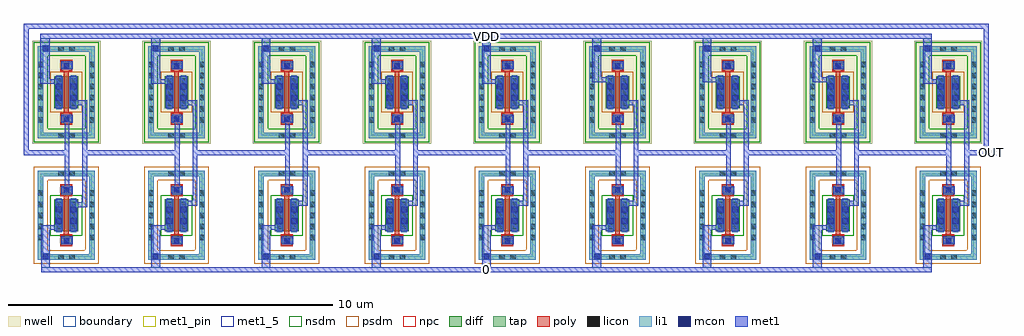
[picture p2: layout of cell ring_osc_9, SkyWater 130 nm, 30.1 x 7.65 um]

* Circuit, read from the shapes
.subckt ring_osc_9 0 OUT VDD
XM1 sky130_fd_pr__nfet_01v8_43PN6M__0_1/G OUT 0 0 sky130_fd_pr__nfet_01v8 w=1 l=0.15
XM2 sky130_fd_pr__nfet_01v8_43PN6M__0_2/G sky130_fd_pr__nfet_01v8_43PN6M__0_1/G 0 0 sky130_fd_pr__nfet_01v8 w=1 l=0.15
XM3 sky130_fd_pr__nfet_01v8_43PN6M__0_3/G sky130_fd_pr__nfet_01v8_43PN6M__0_2/G 0 0 sky130_fd_pr__nfet_01v8 w=1 l=0.15
XM4 sky130_fd_pr__nfet_01v8_43PN6M__0_4/G sky130_fd_pr__nfet_01v8_43PN6M__0_3/G 0 0 sky130_fd_pr__nfet_01v8 w=1 l=0.15
XM5 sky130_fd_pr__nfet_01v8_43PN6M__0_5/G sky130_fd_pr__nfet_01v8_43PN6M__0_4/G 0 0 sky130_fd_pr__nfet_01v8 w=1 l=0.15
XM6 sky130_fd_pr__nfet_01v8_43PN6M__0_6/G sky130_fd_pr__nfet_01v8_43PN6M__0_5/G 0 0 sky130_fd_pr__nfet_01v8 w=1 l=0.15
XM7 sky130_fd_pr__nfet_01v8_43PN6M__0_7/G sky130_fd_pr__nfet_01v8_43PN6M__0_6/G 0 0 sky130_fd_pr__nfet_01v8 w=1 l=0.15
XM8 sky130_fd_pr__nfet_01v8_43PN6M__0_8/G sky130_fd_pr__nfet_01v8_43PN6M__0_7/G 0 0 sky130_fd_pr__nfet_01v8 w=1 l=0.15
XM9 OUT sky130_fd_pr__nfet_01v8_43PN6M__0_8/G 0 0 sky130_fd_pr__nfet_01v8 w=1 l=0.15
XM10 sky130_fd_pr__nfet_01v8_43PN6M__0_1/G OUT VDD VDD sky130_fd_pr__pfet_01v8 w=1 l=0.15
XM11 sky130_fd_pr__nfet_01v8_43PN6M__0_2/G sky130_fd_pr__nfet_01v8_43PN6M__0_1/G VDD VDD sky130_fd_pr__pfet_01v8 w=1 l=0.15
XM12 sky130_fd_pr__nfet_01v8_43PN6M__0_3/G sky130_fd_pr__nfet_01v8_43PN6M__0_2/G VDD VDD sky130_fd_pr__pfet_01v8 w=1 l=0.15
XM13 sky130_fd_pr__nfet_01v8_43PN6M__0_4/G sky130_fd_pr__nfet_01v8_43PN6M__0_3/G VDD VDD sky130_fd_pr__pfet_01v8 w=1 l=0.15
XM14 sky130_fd_pr__nfet_01v8_43PN6M__0_5/G sky130_fd_pr__nfet_01v8_43PN6M__0_4/G VDD VDD sky130_fd_pr__pfet_01v8 w=1 l=0.15
XM15 sky130_fd_pr__nfet_01v8_43PN6M__0_6/G sky130_fd_pr__nfet_01v8_43PN6M__0_5/G VDD VDD sky130_fd_pr__pfet_01v8 w=1 l=0.15
XM16 sky130_fd_pr__nfet_01v8_43PN6M__0_7/G sky130_fd_pr__nfet_01v8_43PN6M__0_6/G VDD VDD sky130_fd_pr__pfet_01v8 w=1 l=0.15
XM17 sky130_fd_pr__nfet_01v8_43PN6M__0_8/G sky130_fd_pr__nfet_01v8_43PN6M__0_7/G VDD VDD sky130_fd_pr__pfet_01v8 w=1 l=0.15
XM18 OUT sky130_fd_pr__nfet_01v8_43PN6M__0_8/G VDD VDD sky130_fd_pr__pfet_01v8 w=1 l=0.15
.ends

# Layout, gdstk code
import gdstk
lib = gdstk.Library(unit=1e-6, precision=1e-09)
def R(c, l, rs):  # rectangles x0, y0, x1, y1
    for r in rs: c.add(gdstk.rectangle(r[:2], r[2:], *l))
def A(c, l, x, y, w, h, nx, ny, dx, dy):  # array of equal rectangles
    R(c, l, [(x+i*dx, y+j*dy, x+i*dx+w, y+j*dy+h) for i in range(nx) for j in range(ny)])
nwell = (64, 20)
diff = (65, 20)
tap = (65, 44)
poly = (66, 20)
licon = (66, 44)
li1 = (67, 20)
mcon = (67, 44)
met1_5 = (68, 5)
met1_pin = (68, 16)
met1 = (68, 20)
nsdm = (93, 44)
psdm = (94, 20)
npc = (95, 20)
boundary = (235, 4)

sky130_fd_pr__nfet_01v8_ = lib.new_cell('sky130_fd_pr__nfet_01v8_43PN6M__0')
R(sky130_fd_pr__nfet_01v8_, diff, [(-0.365,-0.5,0.365,0.5)])
R(sky130_fd_pr__nfet_01v8_, tap, [(-0.875,-1.37,0.875,-1.2), (-0.875,-1.2,-0.705,1.2), (0.705,-1.2,0.875,1.2), (-0.875,1.2,0.875,1.37)])
R(sky130_fd_pr__nfet_01v8_, poly, [(-0.165,-0.94,0.165,-0.61), (-0.075,-0.61,0.075,0.61), (-0.165,0.61,0.165,0.94)])
A(sky130_fd_pr__nfet_01v8_, licon, -0.875, -0.765, 0.17, 0.17, 1, 5, 0, 0.34)
A(sky130_fd_pr__nfet_01v8_, licon, 0.705, -0.765, 0.17, 0.17, 1, 5, 0, 0.34)
A(sky130_fd_pr__nfet_01v8_, licon, -0.305, -0.425, 0.17, 0.17, 1, 3, 0, 0.34)
A(sky130_fd_pr__nfet_01v8_, licon, 0.135, -0.425, 0.17, 0.17, 1, 3, 0, 0.34)
R(sky130_fd_pr__nfet_01v8_, licon, [(-0.255,-1.37,-0.085,-1.2), (0.085,-1.37,0.255,-1.2), (-0.085,-0.86,0.085,-0.69), (-0.085,0.69,0.085,0.86), (-0.255,1.2,-0.085,1.37), (0.085,1.2,0.255,1.37)])
R(sky130_fd_pr__nfet_01v8_, li1, [(-0.875,-1.37,0.875,-1.2), (-0.875,-1.2,-0.705,1.2), (0.705,-1.2,0.875,1.2), (-0.165,-0.86,0.165,-0.69), (-0.305,-0.52,-0.135,0.52), (0.135,-0.52,0.305,0.52), (-0.165,0.69,0.165,0.86), (-0.875,1.2,0.875,1.37)])
R(sky130_fd_pr__nfet_01v8_, mcon, [(-0.085,-0.86,0.085,-0.69), (-0.305,-0.265,-0.135,-0.095), (0.135,-0.265,0.305,-0.095), (-0.305,0.095,-0.135,0.265), (0.135,0.095,0.305,0.265), (-0.085,0.69,0.085,0.86)])
R(sky130_fd_pr__nfet_01v8_, met1, [(-0.145,-0.89,0.145,-0.66), (-0.335,-0.5,-0.105,0.5), (0.105,-0.5,0.335,0.5), (-0.145,0.66,0.145,0.89)])
R(sky130_fd_pr__nfet_01v8_, nsdm, [(-0.49,-0.625,0.49,0.625)])
R(sky130_fd_pr__nfet_01v8_, psdm, [(-1,-1.495,1,-1.075), (-1,-1.075,-0.58,1.075), (0.58,-1.075,1,1.075), (-1,1.075,1,1.495)])
R(sky130_fd_pr__nfet_01v8_, npc, [(-0.185,-0.96,0.185,-0.59), (-0.185,0.59,0.185,0.96)])
R(sky130_fd_pr__nfet_01v8_, boundary, [(-0.79,-1.285,0.79,1.285)])
sky130_fd_pr__nfet_01v8_.add(gdstk.Label('B', (0,-1.285), layer=67, texttype=5))
sky130_fd_pr__nfet_01v8_.add(gdstk.Label('D', (-0.22,0), layer=67, texttype=5))
sky130_fd_pr__nfet_01v8_.add(gdstk.Label('S', (0.22,0), layer=67, texttype=5))
sky130_fd_pr__nfet_01v8_.add(gdstk.Label('G', (0,0.775), layer=67, texttype=5))

sky130_fd_pr__pfet_01v8_ = lib.new_cell('sky130_fd_pr__pfet_01v8_65BPJF__0')
R(sky130_fd_pr__pfet_01v8_, nwell, [(-1.055,-1.595,1.055,1.595)])
R(sky130_fd_pr__pfet_01v8_, diff, [(-0.365,-0.5,0.365,0.5)])
R(sky130_fd_pr__pfet_01v8_, tap, [(-0.875,-1.415,0.875,-1.245), (-0.875,-1.245,-0.705,1.245), (0.705,-1.245,0.875,1.245), (-0.875,1.245,0.875,1.415)])
R(sky130_fd_pr__pfet_01v8_, poly, [(-0.165,-0.985,0.165,-0.655), (-0.075,-0.655,0.075,0.655), (-0.165,0.655,0.165,0.985)])
A(sky130_fd_pr__pfet_01v8_, licon, -0.875, -0.935, 0.17, 0.17, 1, 6, 0, 0.34)
A(sky130_fd_pr__pfet_01v8_, licon, 0.705, -0.935, 0.17, 0.17, 1, 6, 0, 0.34)
A(sky130_fd_pr__pfet_01v8_, licon, -0.305, -0.425, 0.17, 0.17, 1, 3, 0, 0.34)
A(sky130_fd_pr__pfet_01v8_, licon, 0.135, -0.425, 0.17, 0.17, 1, 3, 0, 0.34)
R(sky130_fd_pr__pfet_01v8_, licon, [(-0.255,-1.415,-0.085,-1.245), (0.085,-1.415,0.255,-1.245), (-0.085,-0.905,0.085,-0.735), (-0.085,0.735,0.085,0.905), (-0.255,1.245,-0.085,1.415), (0.085,1.245,0.255,1.415)])
R(sky130_fd_pr__pfet_01v8_, li1, [(-0.875,-1.415,0.875,-1.245), (-0.875,-1.245,-0.705,1.245), (0.705,-1.245,0.875,1.245), (-0.165,-0.905,0.165,-0.735), (-0.305,-0.52,-0.135,0.52), (0.135,-0.52,0.305,0.52), (-0.165,0.735,0.165,0.905), (-0.875,1.245,0.875,1.415)])
R(sky130_fd_pr__pfet_01v8_, mcon, [(-0.085,-0.905,0.085,-0.735), (-0.305,-0.265,-0.135,-0.095), (0.135,-0.265,0.305,-0.095), (-0.305,0.095,-0.135,0.265), (0.135,0.095,0.305,0.265), (-0.085,0.735,0.085,0.905)])
R(sky130_fd_pr__pfet_01v8_, met1, [(-0.145,-0.935,0.145,-0.705), (-0.335,-0.5,-0.105,0.5), (0.105,-0.5,0.335,0.5), (-0.145,0.705,0.145,0.935)])
R(sky130_fd_pr__pfet_01v8_, nsdm, [(-1,-1.54,1,-1.12), (-1,-1.12,-0.58,1.12), (0.58,-1.12,1,1.12), (-1,1.12,1,1.54)])
R(sky130_fd_pr__pfet_01v8_, psdm, [(-0.49,-0.625,0.49,0.625)])
R(sky130_fd_pr__pfet_01v8_, npc, [(-0.185,-1.005,0.185,-0.635), (-0.185,0.635,0.185,1.005)])
R(sky130_fd_pr__pfet_01v8_, boundary, [(-0.79,-1.33,0.79,1.33)])
sky130_fd_pr__pfet_01v8_.add(gdstk.Label('B', (0,-1.33), layer=67, texttype=5))
sky130_fd_pr__pfet_01v8_.add(gdstk.Label('D', (-0.22,0), layer=67, texttype=5))
sky130_fd_pr__pfet_01v8_.add(gdstk.Label('S', (0.22,0), layer=67, texttype=5))
sky130_fd_pr__pfet_01v8_.add(gdstk.Label('G', (0,0.82), layer=67, texttype=5))

ring_osc_9 = lib.new_cell('ring_osc_9')
A(ring_osc_9, li1, -25.93, -8.12, 0.2, 0.2, 7, 2, 3.4, 6.41)
R(ring_osc_9, li1, [(-32.73,-8.12,-32.53,-7.92), (-29.34,-8.12,-29.14,-7.92), (-32.73,-1.71,-32.53,-1.51), (-29.34,-1.71,-29.14,-1.51)])
A(ring_osc_9, mcon, -25.915, -8.105, 0.17, 0.17, 7, 2, 3.4, 6.41)
R(ring_osc_9, mcon, [(-32.715,-8.105,-32.545,-7.935), (-29.325,-8.105,-29.155,-7.935), (-32.715,-1.695,-32.545,-1.525), (-29.325,-1.695,-29.155,-1.525)])
R(ring_osc_9, met1_5, [(-32.77,-8.5,-5.3,-8.35), (-32.8,-1.3,-5.3,-1.15)])
R(ring_osc_9, met1_pin, [(-3.7,-4.9,-3.2,-4.75)])
A(ring_osc_9, met1, -32.77, -8.35, 0.27, 1.15, 9, 1, 3.4, 0)
A(ring_osc_9, met1, -32.15, -7.65, 0.35, 0.25, 9, 2, 3.4, 1.55)
A(ring_osc_9, met1, -32.77, -7.2, 0.62, 0.15, 9, 1, 3.4, 0)
A(ring_osc_9, met1, -28.45, -6.45, 0.5, 0.15, 8, 1, 3.4, 0)
A(ring_osc_9, met1, -28.1, -6.3, 0.15, 1.4, 8, 1, 3.4, 0)
A(ring_osc_9, met1, -32.05, -5.85, 0.15, 0.95, 9, 1, 3.4, 0)
A(ring_osc_9, met1, -31.5, -4.9, 3, 0.15, 8, 1, 3.4, 0)
A(ring_osc_9, met1, -32.05, -4.75, 0.15, 0.85, 9, 1, 3.4, 0)
A(ring_osc_9, met1, -31.5, -4.75, 0.15, 1.4, 9, 1, 3.4, 0)
A(ring_osc_9, met1, -32.15, -3.9, 0.35, 0.25, 9, 2, 3.4, 1.65)
A(ring_osc_9, met1, -31.85, -3.35, 0.5, 0.15, 9, 1, 3.4, 0)
A(ring_osc_9, met1, -29.37, -2.7, 0.62, 0.15, 4, 1, 3.4, 0)
A(ring_osc_9, met1, -15.77, -2.65, 0.62, 0.15, 3, 1, 3.4, 0)
A(ring_osc_9, met1, -29.37, -2.55, 0.27, 1.25, 4, 1, 3.4, 0)
A(ring_osc_9, met1, -15.77, -2.5, 0.27, 1.2, 3, 1, 3.4, 0)
R(ring_osc_9, met1, [(-32.77,-8.5,-5.3,-8.35), (-31.85,-6.5,-31.35,-6.35), (-31.5,-6.35,-31.35,-4.9), (-33.3,-4.9,-31.9,-4.75), (-4.3,-4.9,-3.2,-4.75), (-33.3,-4.75,-33.15,-1), (-3.7,-4.75,-3.55,-1), (-32.8,-2.7,-32.15,-2.55), (-5.57,-2.7,-4.95,-2.55), (-32.8,-2.55,-32.5,-1.3), (-5.57,-2.55,-5.3,-1.3), (-32.8,-1.3,-5.3,-1.15), (-33.3,-1,-3.55,-0.85)])
ring_osc_9.add(gdstk.Reference(sky130_fd_pr__nfet_01v8_, (-31.995,-6.75)))
ring_osc_9.add(gdstk.Reference(sky130_fd_pr__nfet_01v8_, (-28.595,-6.75)))
ring_osc_9.add(gdstk.Reference(sky130_fd_pr__nfet_01v8_, (-25.195,-6.75)))
ring_osc_9.add(gdstk.Reference(sky130_fd_pr__nfet_01v8_, (-21.795,-6.75)))
ring_osc_9.add(gdstk.Reference(sky130_fd_pr__nfet_01v8_, (-18.395,-6.75)))
ring_osc_9.add(gdstk.Reference(sky130_fd_pr__nfet_01v8_, (-14.995,-6.75)))
ring_osc_9.add(gdstk.Reference(sky130_fd_pr__nfet_01v8_, (-11.595,-6.75)))
ring_osc_9.add(gdstk.Reference(sky130_fd_pr__nfet_01v8_, (-8.195,-6.75)))
ring_osc_9.add(gdstk.Reference(sky130_fd_pr__nfet_01v8_, (-4.795,-6.75)))
ring_osc_9.add(gdstk.Reference(sky130_fd_pr__pfet_01v8_, (-31.995,-2.955)))
ring_osc_9.add(gdstk.Reference(sky130_fd_pr__pfet_01v8_, (-28.595,-2.955)))
ring_osc_9.add(gdstk.Reference(sky130_fd_pr__pfet_01v8_, (-25.195,-2.955)))
ring_osc_9.add(gdstk.Reference(sky130_fd_pr__pfet_01v8_, (-21.795,-2.955)))
ring_osc_9.add(gdstk.Reference(sky130_fd_pr__pfet_01v8_, (-18.395,-2.955)))
ring_osc_9.add(gdstk.Reference(sky130_fd_pr__pfet_01v8_, (-14.995,-2.955)))
ring_osc_9.add(gdstk.Reference(sky130_fd_pr__pfet_01v8_, (-11.595,-2.955)))
ring_osc_9.add(gdstk.Reference(sky130_fd_pr__pfet_01v8_, (-8.195,-2.955)))
ring_osc_9.add(gdstk.Reference(sky130_fd_pr__pfet_01v8_, (-4.795,-2.955)))
ring_osc_9.add(gdstk.Label('VDD', (-19.05,-1.225), layer=68, texttype=5))
ring_osc_9.add(gdstk.Label('0', (-19.035,-8.425), layer=68, texttype=5))
ring_osc_9.add(gdstk.Label('OUT', (-3.45,-4.825), layer=68, texttype=5))

lib.write_gds('ring_osc_9.gds')
